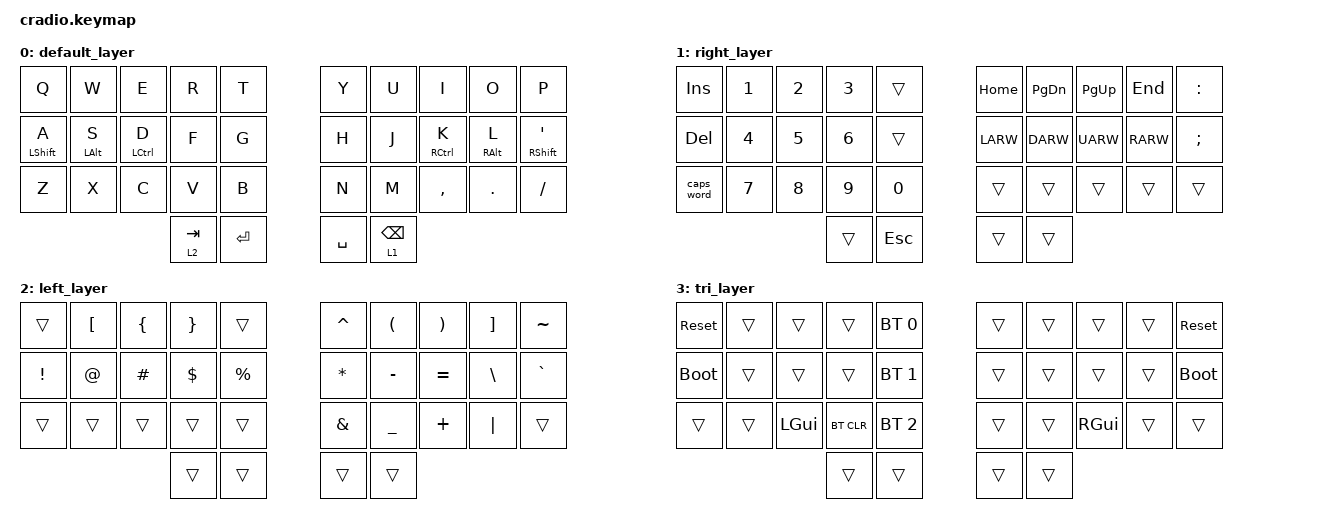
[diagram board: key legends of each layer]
// Copyright (c) 2022 The ZMK Contributors
// SPDX-License-Identifier: MIT

#include <behaviors.dtsi>
#include <dt-bindings/zmk/bt.h>
#include <dt-bindings/zmk/keys.h>

// Home row mods macro

/ {
    behaviors {
        ht: hold_tap {
            compatible = "zmk,behavior-hold-tap";
            #binding-cells = <2>;
            flavor = "tap-preferred";
            tapping-term-ms = <220>;
            quick-tap-ms = <150>;
            require-prior-idle-ms = <100>;
            bindings = <&kp>, <&kp>;
        };
    };

    conditional_layers {
        compatible = "zmk,conditional-layers";

        tri_layer {
            if-layers = <1 2>;
            then-layer = <3>;
        };
    };

    keymap {
        compatible = "zmk,keymap";

        default_layer {
            bindings = <
&kp Q         &kp W       &kp E        &kp R      &kp T        &kp Y      &kp U       &kp I        &kp O       &kp P
&ht LSHIFT A  &ht LALT S  &ht LCTRL D  &kp F      &kp G        &kp H      &kp J       &ht RCTRL K  &ht RALT L  &ht RSHIFT SQT
&kp Z         &kp X       &kp C        &kp V      &kp B        &kp N      &kp M       &kp COMMA    &kp DOT     &kp FSLH
                                       &lt 2 TAB  &kp ENTER    &kp SPACE  &lt 1 BSPC
            >;
        };

        right_layer {
            bindings = <
&kp INS     &kp N1  &kp N2  &kp N3  &trans     &kp HOME  &kp PG_DN  &kp PG_UP  &kp END   &kp COLON
&kp DEL     &kp N4  &kp N5  &kp N6  &trans     &kp LARW  &kp DARW   &kp UARW   &kp RARW  &kp SEMI
&caps_word  &kp N7  &kp N8  &kp N9  &kp N0     &trans    &trans     &trans     &trans    &trans
                            &trans  &kp ESC    &trans    &trans
            >;
        };

        left_layer {
            bindings = <
&trans    &kp LBKT  &kp LBRC  &kp RBRC  &trans       &kp CARET  &kp LPAR   &kp RPAR   &kp RBKT  &kp TILDE
&kp EXCL  &kp AT    &kp HASH  &kp DLLR  &kp PRCNT    &kp ASTRK  &kp MINUS  &kp EQUAL  &kp BSLH  &kp GRAVE
&trans    &trans    &trans    &trans    &trans       &kp AMPS   &kp UNDER  &kp PLUS   &kp PIPE  &trans
                              &trans    &trans       &trans     &trans
            >;
        };

        tri_layer {
            bindings = <
&sys_reset   &trans  &trans    &trans      &bt BT_SEL 0    &trans  &trans  &trans    &trans  &sys_reset
&bootloader  &trans  &trans    &trans      &bt BT_SEL 1    &trans  &trans  &trans    &trans  &bootloader
&trans       &trans  &kp LGUI  &bt BT_CLR  &bt BT_SEL 2    &trans  &trans  &kp RGUI  &trans  &trans
                               &trans      &trans          &trans  &trans
            >;
        };
    };
};
